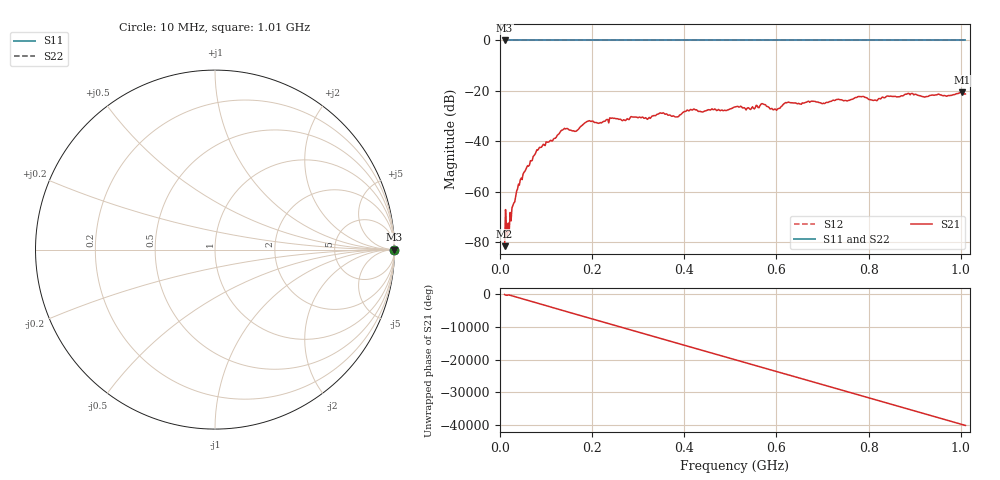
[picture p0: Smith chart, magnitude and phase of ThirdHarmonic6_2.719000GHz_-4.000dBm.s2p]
! 8/17/2025 6:36:57 AM
! C:\ANRITSUVNA\TEMP\TEMP.S2P
! CHANNEL.1
! TR.MEASUREMENT
! RAW.DATA
! RF.CORRECTION.OFF
! AVERAGING.OFF
! IF.BANDWIDTH: 5KHZ
! SWEEPTYPE:  FREQ.SWEEP(Linear)
! Reference Plane Port Info
! PORT:  PORT1  PORT2
! DISTANCE:  0  m  0  m
! TIME:  0  s  0  s
! PHASE.OFFSET:  0  deg.  0  deg.
! LOSS:  0  dB  0  dB
! REF.LOSS:  0  dB  0  dB
! REF.FREQ:  0  Hz  0  Hz
! Power Info
! POWER:  -20  dBm  -20  dBm
! EFF.POWER:  -20  dBm  -20  dBm
! SOURCE.ATTEN:  0  dB  0  dB
! TEST.ATTEN:  0  dB  0  dB
# GHZ S RI R 50.0
! FREQ.GHZ  S11RE  S11IM  S21RE  S21IM  S12RE  S12IM  S22RE  S22IM
!; PortSelection: Port_12
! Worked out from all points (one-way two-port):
!   501 points, 10 MHz to 1.01 GHz, reference 50 ohm
!   highest |S21| = -20.58 dB at 1.002 GHz (marker M1); lowest = -81.6 dB at 10 MHz (marker M2)
!   lowest |S11| = 0.0 dB at 10 MHz (marker M3)
!   |S11| at or under -10 dB: nowhere
!   |S22| runs from 0.0 to 0.0 dB; largest |S21 - S12| = 1.1
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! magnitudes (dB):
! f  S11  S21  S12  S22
! 10 MHz  0.0  -81.6  0.0  0.0
! 20 MHz  0.0  -75.8  0.0  0.0
! 26 MHz  0.0  -66.4  0.0  0.0
! 42 MHz  0.0  -57.4  0.0  0.0
! 82 MHz  0.0  -43.5  0.0  0.0
! 136 MHz  0.0  -35.5  0.0  0.0
! 164 MHz  0.0  -36.0  0.0  0.0
! 178 MHz  0.0  -33.7  0.0  0.0
! 192 MHz  0.0  -31.9  0.0  0.0
! 344 MHz  0.0  -29.2  0.0  0.0
! 384 MHz  0.0  -30.3  0.0  0.0
! 418 MHz  0.0  -27.6  0.0  0.0
! 510 MHz  0.0  -26.4  0.0  0.0
! 572 MHz  0.0  -25.3  0.0  0.0
! 596 MHz  0.0  -27.2  0.0  0.0
! 622 MHz  0.0  -24.7  0.0  0.0
! 678 MHz  0.0  -24.1  0.0  0.0
! 782 MHz  0.0  -22.3  0.0  0.0
! 814 MHz  0.0  -23.6  0.0  0.0
! 844 MHz  0.0  -22.1  0.0  0.0
! 1.002 GHz  0.0  -20.6  0.0  0.0
! 1.01 GHz  0.0  -21.2  0.0  0.0
